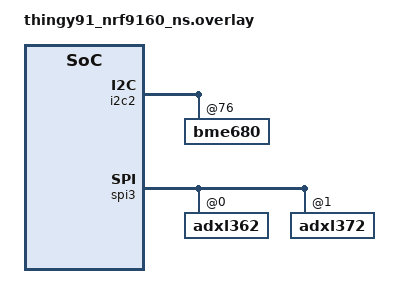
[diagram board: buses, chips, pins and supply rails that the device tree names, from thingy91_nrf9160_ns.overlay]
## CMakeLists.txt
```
# Copyright (c) 2022 TOKITA Hiroshi <tokita.hiroshi@fujitsu.com>
# SPDX-License-Identifier: Apache-2.0

cmake_minimum_required(VERSION 3.20.0)
find_package(Zephyr REQUIRED HINTS $ENV{ZEPHYR_BASE})
project(capteurbme_accel)

FILE(GLOB app_sources src/*.c)
target_sources(app PRIVATE ${app_sources})
```

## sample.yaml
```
sample:
  name: Accelerometer polling sample
tests:
  sample.sensor.accel_polling:
    harness: console
    tags: sensors
    filter: dt_alias_exists("accel0")
    harness_config:
      type: one_line
      regex:
        - "^\\s*[0-9A-Za-z_,+-.]*@[0-9A-Fa-f]* \\[m\/s\\^2\\]:    \
           \\(\\s*-?[0-9\\.]*,\\s*-?[0-9\\.]*,\\s*-?[0-9\\.]*\\)$"
    integration_platforms:
      - cc1352r_sensortag               # adxl362
      - blueclover_plt_demo_v2/nrf52832 # bmi270
      - frdm_kl25z                      # mma8451q
      - lpcxpresso55s28                 # mma8652fc
      - bbc_microbit                    # mmc8653fc
      - frdm_k64f                       # fxos8700
      - sparkfun_thing_plus/nrf9160     # lis2dh
      - thingy52/nrf52832               # lis2dh12
      - stm32f411e_disco                # lsm303agr_accel
      - stm32f3_disco                   # lsm303dlhc_accel
      - bl5340_dvk/nrf5340/cpuapp       # lis3dh
      - b_l4s5i_iot01a                  # lsm6dsl
      - sensortile_box                  # lis2dw12, lsm6dso, iisdhhc
      - thingy53/nrf5340/cpuapp         # adxl362, bmi270
```

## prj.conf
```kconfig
CONFIG_STDOUT_CONSOLE=y
CONFIG_SENSOR=y
CONFIG_CBPRINTF_FP_SUPPORT=y
```

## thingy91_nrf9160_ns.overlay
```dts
/*
 * Copyright (c) 2024 Nordic Semiconductor ASA
 *
 * SPDX-License-Identifier: LicenseRef-Nordic-5-Clause
 */

 / {
	aliases {
		accel0 = &adxl362;

	};
};

&i2c2 {
	bme680: bme680@76 {};
};

&spi3 {
	adxl362: adxl362@0 {
		autosleep;
	};

	adxl372: adxl372@1 {
		odr = <4>;
		bw = <4>;
		hpf = <0>;
	};
};
```

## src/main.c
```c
// Inclusion des bibliothèques standard et Zephyr nécessaires
#include <stdio.h>      // Pour l'affichage des informations (printf, printk)
#include <stdlib.h>     // Pour les opérations générales (ex: malloc, free)

#include <zephyr/device.h>      // Gestion des périphériques
#include <zephyr/drivers/sensor.h>  // Accès aux capteurs du Thingy:91
#include <zephyr/sys/util_macro.h>  // Macros utiles du système Zephyr
#include <zephyr/kernel.h>          // Fonctions du noyau Zephyr (ex: gestion des tâches)
#include <zephyr/drivers/gpio.h>    // Gestion des GPIO (LED, boutons, ...)
#include <zephyr/sys/printk.h>      // Fonction d'affichage printk

#if defined(CONFIG_ADP536X)  // Vérifie si la configuration pour ADP536X est activée
#include <adp536x.h>  // Inclusion du pilote pour ce composant (gestion de l'alimentation)
#endif

// Définition de constantes
#define SLEEP_TIME_MS   1000  // Temps d'attente en millisecondes entre chaque itération
#define SEUIL 15.0  // Seuil d'accélération en m/s² pour détecter un choc

// Définition de l'alias pour la LED0 dans le fichier Devicetree
#define LED0_NODE DT_ALIAS(led0) 

// Macros pour accéder aux accéléromètres définis dans Devicetree
#define ACCEL_ALIAS(i) DT_ALIAS(_CONCAT(accel, i))
#define ACCELEROMETER_DEVICE(i, _) \
	IF_ENABLED(DT_NODE_EXISTS(ACCEL_ALIAS(i)), (DEVICE_DT_GET(ACCEL_ALIAS(i)),))

// Tableau des capteurs accélérométriques (jusqu'à 10 capteurs maximum)
static const struct device *const sensors[] = {LISTIFY(10, ACCELEROMETER_DEVICE, ())};

// Liste des axes d'accélération à mesurer (X, Y, Z)
static const enum sensor_channel channels[] = {
	SENSOR_CHAN_ACCEL_X,
	SENSOR_CHAN_ACCEL_Y,
	SENSOR_CHAN_ACCEL_Z,
};

// Configuration de la LED pour pouvoir la contrôler via GPIO
static const struct gpio_dt_spec led = GPIO_DT_SPEC_GET(LED0_NODE, gpios);  

// Variable globale pour compter le nombre de chocs détectés
static int shock_counter = 0; 

// Fonction de détection des chocs en analysant les accélérations mesurées
void detectShock(float acc_x, float acc_y, float acc_z) {
    if (fabs(acc_x) > SEUIL || fabs(acc_y) > SEUIL || fabs(acc_z) > SEUIL) {
        shock_counter++;  // Incrémentation du compteur de chocs
        printk("Attention, choc détecté ! Compteur de chocs : %d\n", shock_counter);
    }
}

//fonction de détection de l'orientation en fonction des valeurs d'accélération mesuré
void detectOrientation(float acc_x, float acc_y, float acc_z){
	if (acc_z >= -12 && acc_z <= -8 && acc_x >= -1 && acc_x <= 1 && acc_y >= -1 && acc_y <= 1) {
        printf("Orientation: a plat (0°)\n");
    	} else if (acc_x >= -12 && acc_x <= -8 && acc_y >= -1 && acc_y <= 1 && acc_z >= -1 && acc_z <= 1) {
        printf("Orientation: verticale (90°)\n");
    	} else if (acc_z >= 8 && acc_z <= 12 && acc_x >= -1 && acc_x <= 1 && acc_y >= -1 && acc_y <= 1) {
        printf("Orientation : à l'envers (180°)\n");
    	} else if (acc_y >= -12 && acc_y <= -8 && acc_x >= -1 && acc_x <= 1 && acc_z >= -1 && acc_z <= 1){
        printf("Orientation: verticale (90°)\n");
    	} else if (acc_x >= 8 && acc_x <= 12 && acc_y >= -1 && acc_y <= 1 && acc_z >= -1 && acc_z <= 1){
        printf("Orientation: verticale (90°)\n");
    	} else if (acc_y >= 8 && acc_y <= 12 && acc_x >= -1 && acc_x <= 1 && acc_z >= -1 && acc_z <= 1){
        printf("Orientation: verticale (90°)\n");
    	} else if (acc_y >= -9 && acc_y <= -7 && acc_x >= -1 && acc_x <= 1 && acc_z >= -5 && acc_z <= -3){
        printf("Orientation: verticale à l'endroit (45°)\n");
    	} else if (acc_y >= -9 && acc_y <= -7 && acc_x >= -1 && acc_x <= 1 && acc_z >= 4 && acc_z <= 6){
        printf("Orientation: verticale à l'envers(135°)\n");
	} else if (acc_y >= -1 && acc_y <= 1 && acc_x >= 7 && acc_x <= 10 && acc_z >= -5 && acc_z <= -3){
        printf("Orientation: verticale à l'endroit(45°)\n");
	} else if (acc_y >= -1 && acc_y <= 1 && acc_x >= -9 && acc_x <= -7 && acc_z >= 4 && acc_z <= 6){
        printf("Orientation: verticale à l'envers(135°)\n");
	} else if (acc_y >= 7 && acc_y <= 9 && acc_x >= -1 && acc_x <= 1 && acc_z >= -6 && acc_z <= -3){
        printf("Orientation: verticale à l'endroit(45°)\n");
	} else if (acc_y >= 7 && acc_y <= 9 && acc_x >= -1 && acc_x <= 1 && acc_z >= 5 && acc_z <= 7){
        printf("Orientation: verticale à l'envers(135°)\n");
	} else if (acc_y >= -1 && acc_y <= 1 && acc_x >= -9 && acc_x <= -7 && acc_z >= -6 && acc_z <= -4){
        printf("Orientation: verticale à l'endroit(45°)\n");
	} else if (acc_y >= -2 && acc_y <= 1 && acc_x >= 7 && acc_x <= 9 && acc_z >= 4 && acc_z <= 6){
        printf("Orientation: verticale à l'envers(135°)\n");
	} else {
		printf("Orientation: non défini\n");
	}
}

// Fonction qui récupère et affiche les valeurs d'accélération d'un capteur
static int print_accels(const struct device *dev1)
{
	int ret1;
	struct sensor_value accel[3]; // Stocke les valeurs des 3 axes d'accélération

	// Récupération des données du capteur
	ret1 = sensor_sample_fetch(dev1); 
	if (ret1 < 0) {
		printk("%s: Erreur lors de la lecture des données du capteur: %d\n", dev1->name, ret1);
		return ret1;
	}

	// Lecture des valeurs d'accélération pour les axes X, Y et Z
	for (size_t i = 0; i < ARRAY_SIZE(channels); i++) {
		ret1 = sensor_channel_get(dev1, channels[i], &accel[i]);
		if (ret1 < 0) {
			printk("%s: Erreur lors de la lecture de l'axe %c : %d\n", dev1->name, 'X' + i, ret1);
			return ret1;
		}
	}

	// Affichage des valeurs d'accélération
	printk("x = %12.6f m/s^2\n", sensor_value_to_double(&accel[0]));
	printk("y = %12.6f m/s^2\n", sensor_value_to_double(&accel[1]));
	printk("z = %12.6f m/s^2\n", sensor_value_to_double(&accel[2]));

	// Détection de choc et d'orientation
	detectShock(sensor_value_to_double(&accel[0]), sensor_value_to_double(&accel[1]), sensor_value_to_double(&accel[2]));
	detectOrientation(sensor_value_to_double(&accel[0]), sensor_value_to_double(&accel[1]), sensor_value_to_double(&accel[2]));

	return 0;
}

// Fonction principale du programme
int main(void)
{
	// Détection du capteur environnemental Bosch BME680
	const struct device *const dev_bme = DEVICE_DT_GET_ONE(bosch_bme680);
	struct sensor_value temp, press, humidity; // Variables pour stocker les valeurs

    int ret;
	int counter = 0;  // Compteur de secondes

    // Vérification si la LED est disponible
    if (!gpio_is_ready_dt(&led)) {
        return 0;
    }

    // Configuration de la LED en sortie
    ret = gpio_pin_configure_dt(&led, GPIO_OUTPUT_ACTIVE);
    if (ret < 0) {
        return 0;
    }

	// Vérification si le capteur BME680 est prêt
	if (!device_is_ready(dev_bme)) {
		printk("Capteur BME680 non détecté.\n");
		return 0;
	}

	printf("Capteur environnemental détecté: %s\n", dev_bme->name);

	// Vérification de la présence des accéléromètres
	for (size_t i = 0; i < ARRAY_SIZE(sensors); i++) {
		if (!device_is_ready(sensors[i])) {
			printk("Capteur %s non détecté.\n", sensors[i]->name);
			return 0;
		}
	}

	// Boucle principale
	while (1) {
		// Clignotement de la LED toutes les 30 secondes
		if (counter % 30 == 0) {  
			gpio_pin_set_dt(&led, 1);
			k_msleep(1000);
			gpio_pin_set_dt(&led, 0);
		}

		// Affichage des valeurs des accéléromètres
		printf("Données accélérations:\n"); 
		for (size_t i = 0; i < ARRAY_SIZE(sensors); i++) {
			if (print_accels(sensors[i]) < 0) {
				return 0;
			}
		}
	
		// Lecture des données environnementales
		sensor_sample_fetch(dev_bme);
		sensor_channel_get(dev_bme, SENSOR_CHAN_AMBIENT_TEMP, &temp);
		sensor_channel_get(dev_bme, SENSOR_CHAN_PRESS, &press);
		sensor_channel_get(dev_bme, SENSOR_CHAN_HUMIDITY, &humidity);

		// Affichage des valeurs
		printf("Données environnementales:\n");
		printf("Température: %d.%06d °C\n", temp.val1, temp.val2);
		printf("Pression: %d.%06d kPa\n", press.val1, press.val2);
		printf("Humidité: %d.%06d %%RH\n", humidity.val1, humidity.val2);
		printf("\n");

		// Incrémentation du compteur et attente avant la prochaine boucle
		counter++;
		k_msleep(SLEEP_TIME_MS);
	}
	return 0;
}
```
